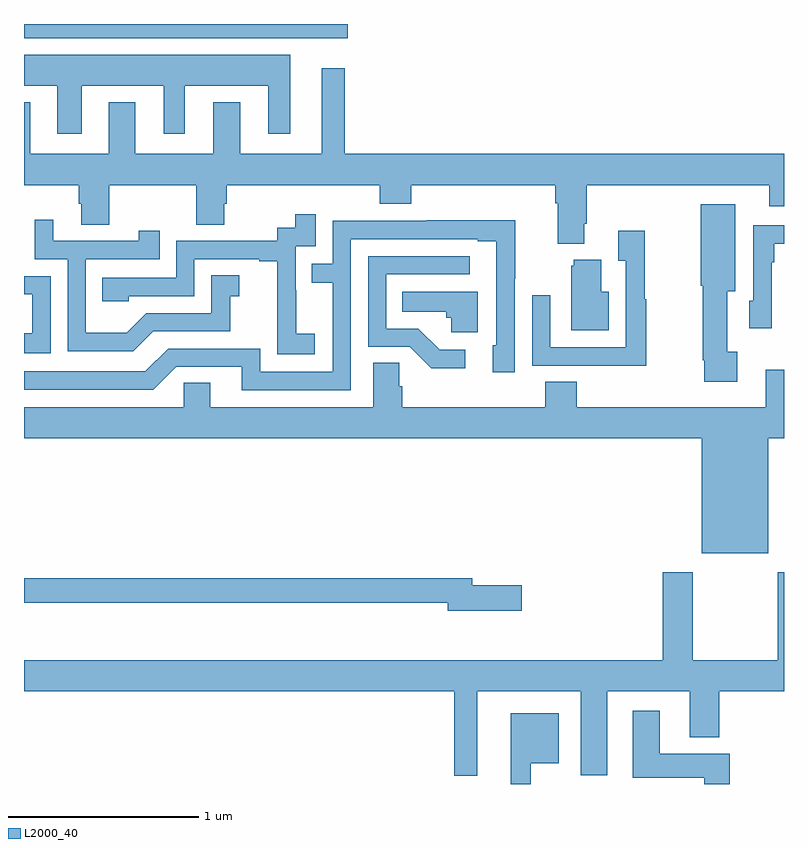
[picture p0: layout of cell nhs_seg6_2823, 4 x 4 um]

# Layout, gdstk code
import gdstk
lib = gdstk.Library(unit=1e-6, precision=1e-09)
def R(c, l, rs):  # rectangles x0, y0, x1, y1
    for r in rs: c.add(gdstk.rectangle(r[:2], r[2:], *l))
def P(c, l, *ps):  # polygons
    for p in ps: c.add(gdstk.Polygon(p, *l))
L2000_40 = (2000, 40)

nhs_seg6_2823 = lib.new_cell('nhs_seg6_2823')
R(nhs_seg6_2823, L2000_40, [(277,965.426,278.704,965.5)])
P(nhs_seg6_2823, L2000_40, [(277.303,965.174),(277.736,965.174),(277.736,964.923),(277.846,964.923),(277.846,965.174),(278.285,965.174),(278.285,964.923),(278.401,964.923),(278.401,965.338),(277,965.338),(277,965.174),(277.175,965.174),(277.175,964.923),(277.303,964.923)],
  [(278.053,964.554),(278.066,964.554),(278.066,964.652),(278.873,964.652),(278.873,964.553),(279.038,964.553),(279.038,964.652),(279.797,964.652),(279.797,964.556),(279.809,964.556),(279.809,964.343),(279.949,964.343),(279.949,964.45),(279.962,964.45),(279.962,964.652),(280.922,964.652),(280.922,964.542),(281,964.542),(281,964.816),(278.689,964.816),(278.689,965.266),(278.567,965.266),(278.567,964.816),(278.137,964.816),(278.137,965.089),(277.997,965.089),(277.997,964.816),(277.585,964.816),(277.585,965.089),(277.445,965.089),(277.445,964.816),(277.033,964.816),(277.033,965.089),(277,965.089),(277,964.652),(277.289,964.652),(277.289,964.554),(277.301,964.554),(277.301,964.444),(277.449,964.444),(277.449,964.652),(277.906,964.652),(277.906,964.444),(278.053,964.444)],
  [(280.753,963.774),(280.702,963.774),(280.702,964.094),(280.744,964.094),(280.744,964.552),(280.562,964.552),(280.562,964.122),(280.573,964.122),(280.573,963.73),(280.58,963.73),(280.58,963.618),(280.753,963.618)],
  [(278.53,963.871),(278.432,963.871),(278.432,964.1),(278.43,964.1),(278.43,964.329),(278.535,964.329),(278.535,964.498),(278.427,964.498),(278.427,964.428),(278.334,964.428),(278.334,964.359),(277.8,964.359),(277.8,964.164),(277.411,964.164),(277.411,964.041),(277.551,964.041),(277.551,964.068),(277.896,964.068),(277.896,964.263),(278.237,964.263),(278.237,964.251),(278.333,964.251),(278.333,963.967),(278.332,963.967),(278.332,963.761),(278.53,963.761)],
  [(277.681,963.882),(278.085,963.882),(278.085,964.067),(278.134,964.067),(278.134,964.177),(277.986,964.177),(277.986,963.978),(277.644,963.978),(277.54,963.874),(277.326,963.874),(277.326,964.263),(277.715,964.263),(277.715,964.411),(277.604,964.411),(277.604,964.359),(277.153,964.359),(277.153,964.471),(277.056,964.471),(277.056,964.263),(277.23,964.263),(277.23,963.777),(277.576,963.777)],
  [(278.721,964.368),(279.389,964.368),(279.389,964.356),(279.486,964.356),(279.486,963.81),(279.467,963.81),(279.467,963.666),(279.582,963.666),(279.582,964.159),(279.585,964.159),(279.585,964.466),(279.121,964.466),(279.121,964.464),(278.625,964.464),(278.625,964.239),(278.515,964.239),(278.515,964.138),(278.625,964.138),(278.625,963.669),(278.244,963.669),(278.244,963.792),(277.758,963.792),(277.638,963.672),(277,963.672),(277,963.576),(277.68,963.576),(277.8,963.696),(278.147,963.696),(278.147,963.573),(278.721,963.573)],
  [(280.935,964.247),(280.948,964.247),(280.948,964.343),(281,964.343),(281,964.44),(280.839,964.44),(280.839,964.044),(280.818,964.044),(280.818,963.9),(280.935,963.9)],
  [(280.276,964.052),(280.268,964.052),(280.268,964.411),(280.127,964.411),(280.127,964.255),(280.167,964.255),(280.167,963.798),(279.771,963.798),(279.771,964.072),(279.675,964.072),(279.675,963.702),(279.991,963.702),(279.991,963.701),(280.276,963.701)],
  [(279.322,963.786),(279.187,963.786),(279.076,963.897),(278.907,963.897),(278.907,964.182),(279.346,964.182),(279.346,964.278),(278.811,964.278),(278.811,963.801),(279.03,963.801),(279.143,963.689),(279.322,963.689)],
  [(280.078,964.09),(280.039,964.09),(280.039,964.258),(279.893,964.258),(279.893,964.227),(279.881,964.227),(279.881,963.887),(280.078,963.887)],
  [(277.14,964.173),(277,964.173),(277,964.077),(277.043,964.077),(277.043,963.873),(277,963.873),(277,963.768),(277.14,963.768)],
  [(279.388,964.09),(278.992,964.09),(278.992,963.986),(279.223,963.986),(279.223,963.954),(279.249,963.954),(279.249,963.878),(279.388,963.878)],
  [(280.904,963.484),(279.908,963.484),(279.908,963.617),(279.743,963.617),(279.743,963.484),(278.99,963.484),(278.99,963.593),(278.976,963.593),(278.976,963.716),(278.837,963.716),(278.837,963.484),(277.981,963.484),(277.981,963.611),(277.842,963.611),(277.842,963.484),(277,963.484),(277,963.32),(280.568,963.32),(280.568,962.714),(280.918,962.714),(280.918,963.32),(281,963.32),(281,963.679),(280.904,963.679)],
  [(279.385,961.988),(279.929,961.988),(279.929,961.547),(280.069,961.547),(280.069,961.988),(280.505,961.988),(280.505,961.745),(280.658,961.745),(280.658,961.988),(281,961.988),(281,962.614),(280.966,962.614),(280.966,962.152),(280.521,962.152),(280.521,962.614),(280.361,962.614),(280.361,962.152),(277,962.152),(277,961.988),(279.264,961.988),(279.264,961.544),(279.385,961.544)],
  [(279.619,962.546),(279.358,962.546),(279.358,962.582),(277,962.582),(277,962.454),(279.23,962.454),(279.23,962.411),(279.619,962.411)],
  [(280.715,961.66),(280.345,961.66),(280.345,961.885),(280.205,961.885),(280.205,961.532),(280.58,961.532),(280.58,961.5),(280.715,961.5)],
  [(279.667,961.61),(279.814,961.61),(279.814,961.873),(279.563,961.873),(279.563,961.5),(279.667,961.5)])

lib.write_gds('nhs_seg6_2823.gds')
